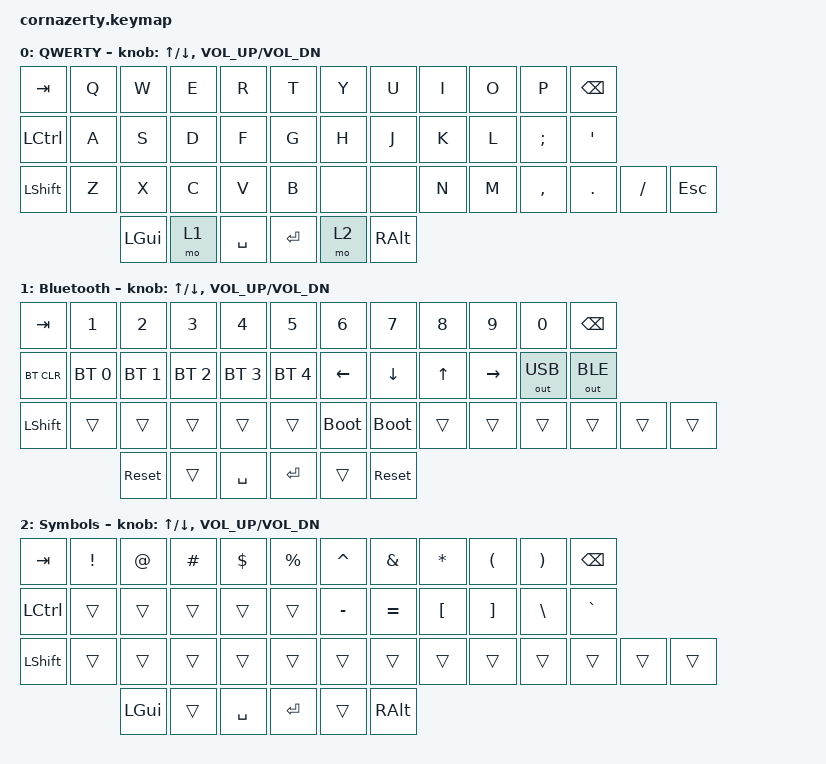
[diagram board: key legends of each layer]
#include <behaviors.dtsi>
#include <dt-bindings/zmk/keys.h>
#include <dt-bindings/zmk/bt.h>
#include <dt-bindings/zmk/outputs.h>

/ {
    keymap {
        compatible = "zmk,keymap";

        default_layer {
            display-name = "QWERTY";
            bindings = <
&kp TAB   &kp Q      &kp W      &kp E      &kp R      &kp T        &kp Y      &kp U      &kp I      &kp O      &kp P      &kp BSPC
&kp LCTRL &kp A      &kp S      &kp D      &kp F      &kp G        &kp H      &kp J      &kp K      &kp L      &kp SEMI   &kp SQT
&kp LSHFT &kp Z      &kp X      &kp C      &kp V      &kp B        &none      &none      &kp N      &kp M      &kp COMMA  &kp DOT    &kp FSLH   &kp ESC
                      &kp LGUI  &mo 1      &kp SPACE  &kp RET      &mo 2      &kp RALT
            >;
            sensor-bindings = <&inc_dec_kp UP DOWN &inc_dec_kp C_VOL_UP C_VOL_DN>;
        };

        lower_layer {
            display-name = "Bluetooth";
            bindings = <
&kp TAB   &kp N1       &kp N2       &kp N3       &kp N4       &kp N5       &kp N6      &kp N7      &kp N8      &kp N9      &kp N0      &kp BSPC
&bt BT_CLR &bt BT_SEL 0 &bt BT_SEL 1 &bt BT_SEL 2 &bt BT_SEL 3 &bt BT_SEL 4 &kp LEFT    &kp DOWN    &kp UP      &kp RIGHT   &out OUT_USB &out OUT_BLE
/* Both center keys enter the local half's bootloader; outer thumbs soft-reset. */
&kp LSHFT &trans       &trans       &trans       &trans       &trans       &bootloader &bootloader &trans      &trans      &trans      &trans      &trans      &trans
                       &sys_reset   &trans       &kp SPACE   &kp RET      &trans      &sys_reset
            >;
            sensor-bindings = <&inc_dec_kp UP DOWN &inc_dec_kp C_VOL_UP C_VOL_DN>;
        };

        raise_layer {
            display-name = "Symbols";
            bindings = <
&kp TAB   &kp EXCL  &kp AT    &kp HASH  &kp DLLR  &kp PRCNT    &kp CARET &kp AMPS  &kp ASTRK &kp LPAR  &kp RPAR  &kp BSPC
&kp LCTRL &trans    &trans    &trans    &trans    &trans       &kp MINUS &kp EQUAL &kp LBKT  &kp RBKT  &kp BSLH  &kp GRAVE
&kp LSHFT &trans   &trans    &trans    &trans    &trans       &trans    &trans    &trans    &trans    &trans    &trans    &trans    &trans
                      &kp LGUI &trans   &kp SPACE &kp RET      &trans    &kp RALT
            >;
            sensor-bindings = <&inc_dec_kp UP DOWN &inc_dec_kp C_VOL_UP C_VOL_DN>;
        };
    };
};
